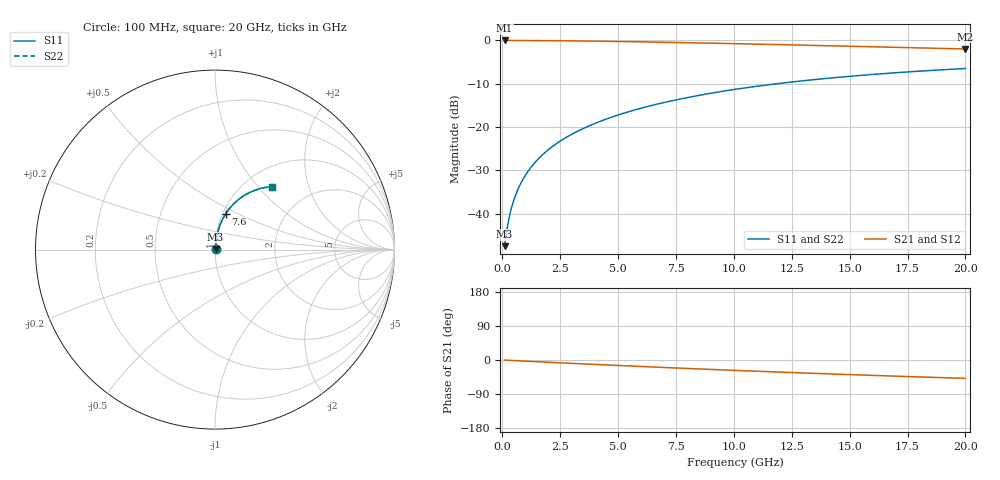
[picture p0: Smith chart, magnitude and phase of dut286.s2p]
! Touchstone file exported from HFSS 2024.1.0
!  File:  C:/UserFiles/LocalFiles/RDL_TSV_Batchsim/temp_RDL_top_286_1778690281.aedt
!  Generated:  12:40:20 AM May 14, 2026
!  Design:  RDL_top
!  Project:  temp_RDL_top_286_1778690281
!  Setup:  Setup1
!  Solution:  Sweep
! Variables:
!  dtsv = 10.80580581um
!  hbump = 3um
!  htsv = 78.78um
!  ldown = 100um
!  lrdl = 649.33um
!  p = 40
!  p1 = 58.7um
!  rhole = 1um
!  t = 450um
!  tdown = 3.915915916um
!  trdl = 4.27um
!  wdown = 15.38538539um
!  wrdl = 18.16um
# GHz S MA R 50.000000
! Terminal data exported
! Port[1] = Box2_T1
! Port[2] = Box2_T2
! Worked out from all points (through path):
!   200 points, 100 MHz to 20 GHz, reference 50 ohm
!   highest |S21| = -0.03 dB at 100 MHz (marker M1); lowest = -2.0 dB at 20 GHz (marker M2)
!   group delay of S21, straight-line fit = 6.71 ps
!   lowest |S11| = -47.4 dB at 100 MHz (marker M3), VSWR 1.01, Z = 50.3 + j0.292 ohm
!   |S11| at or under -10 dB: start of sweep to 11.86 GHz
!   |S22| runs from -47.4 to -6.5 dB; largest |S21 - S12| = 7e-15
!   S11 on the Smith chart (normalised r, x): 100 MHz: 1.01, +0.01; 7.6 GHz: 1.04, +0.43; 20 GHz: 1.32, +1.19
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0.1  0.004244 43.2  0.9969 -0.3  0.9969 -0.3  0.004244 43.2
! Gamma 0 0 0 0
! Port Impedance 50 0 50 0
0.2  0.006595 60.7  0.9968 -0.6  0.9968 -0.6  0.006595 60.7
0.3  0.009175 68.3  0.9966 -0.9  0.9966 -0.9  0.009175 68.3
0.4  0.01181 72.5  0.9964 -1.2  0.9964 -1.2  0.01181 72.5
0.5  0.01446 75.2  0.9962 -1.5  0.9962 -1.5  0.01446 75.2
0.6  0.01713 77.0  0.9961 -1.8  0.9961 -1.8  0.01713 77.0
0.8  0.02251 79.3  0.9957 -2.4  0.9957 -2.4  0.02251 79.3
1.1  0.03064 81.1  0.9949 -3.3  0.9949 -3.3  0.03064 81.1
1.5  0.04155 82.1  0.9937 -4.5  0.9937 -4.5  0.04155 82.1
1.8  0.04976 82.3  0.9925 -5.4  0.9925 -5.4  0.04976 82.3
2.1  0.05799 82.3  0.9912 -6.2  0.9912 -6.2  0.05799 82.3
2.7  0.07448 81.9  0.988 -8.0  0.988 -8.0  0.07448 81.9
3.5  0.09652 81.0  0.9828 -10.3  0.9828 -10.3  0.09652 81.0
4.2  0.1158 79.9  0.9774 -12.3  0.9774 -12.3  0.1158 79.9
5  0.1379 78.5  0.9704 -14.5  0.9704 -14.5  0.1379 78.5
5.9  0.1626 76.8  0.9619 -16.9  0.9619 -16.9  0.1626 76.8
6.8  0.1871 75.0  0.9526 -19.3  0.9526 -19.3  0.1871 75.0
7.6  0.2086 73.3  0.944 -21.4  0.944 -21.4  0.2086 73.3
10.1  0.2735 67.9  0.9151 -27.5  0.9151 -27.5  0.2735 67.9
13.4  0.3512 60.8  0.8748 -35.1  0.8748 -35.1  0.3512 60.8
16.7  0.418 54.0  0.8342 -42.1  0.8342 -42.1  0.418 54.0
20  0.4737 47.7  0.795 -48.5  0.795 -48.5  0.4737 47.7
